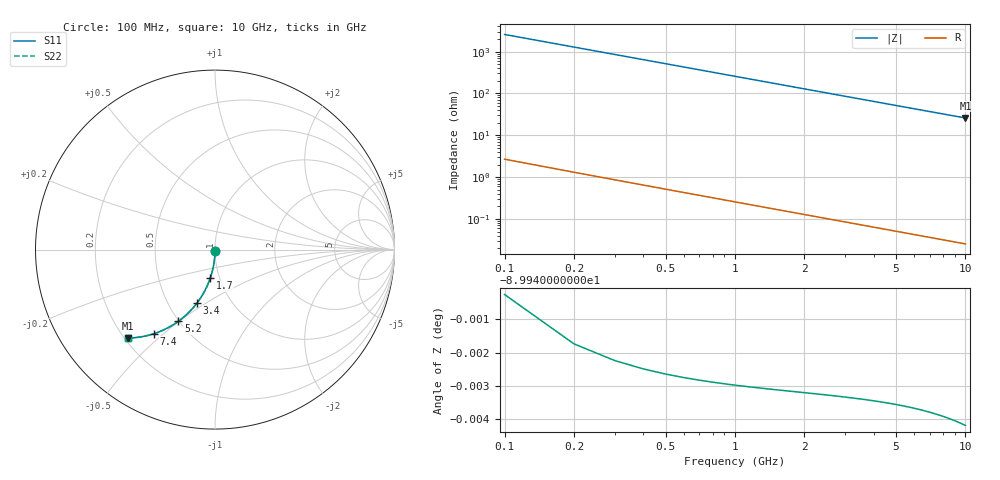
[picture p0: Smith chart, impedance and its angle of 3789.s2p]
# Hz S RI R 50.00
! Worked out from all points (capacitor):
!   100 points, 100 MHz to 10 GHz, reference 50 ohm
!   read as one part in shunt: C = 620 fF near 100 MHz
!   lowest |Z| = 25.9 ohm at 10 GHz (marker M1)
!   S11 on the Smith chart (normalised r, x): 100 MHz: 1.00, -0.02; 1.7 GHz: 0.90, -0.30; 3.4 GHz: 0.70, -0.46; 5.2 GHz: 0.50, -0.50; 7.4 GHz: 0.33, -0.46; 10 GHz: 0.21, -0.40
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1e8  -8.44e-05 -0.00967  0.9999 -0.0098  0.9999 -0.0098  -8.44e-05 -0.00967
2e8  -0.000378 -0.0193  0.9996 -0.0196  0.9996 -0.0196  -0.000378 -0.0193
3e8  -0.000861 -0.029  0.9991 -0.0294  0.9991 -0.0294  -0.000861 -0.029
4e8  -0.00153 -0.0386  0.9984 -0.0391  0.9984 -0.0391  -0.00153 -0.0386
5e8  -0.00239 -0.0482  0.9976 -0.0489  0.9976 -0.0489  -0.00239 -0.0482
6e8  -0.00344 -0.0578  0.9965 -0.0586  0.9965 -0.0586  -0.00344 -0.0578
8e8  -0.00608 -0.0769  0.9939 -0.0779  0.9939 -0.0779  -0.00608 -0.0769
1.1e9  -0.0114 -0.1051  0.9885 -0.1065  0.9885 -0.1065  -0.0114 -0.1051
1.4e9  -0.0183 -0.1329  0.9816 -0.1347  0.9816 -0.1347  -0.0183 -0.1329
1.7e9  -0.0268 -0.1599  0.9732 -0.1621  0.9732 -0.1621  -0.0268 -0.1599
1.8e9  -0.0299 -0.1688  0.97 -0.1711  0.97 -0.1711  -0.0299 -0.1688
2.1e9  -0.0402 -0.1947  0.9597 -0.1974  0.9597 -0.1974  -0.0402 -0.1947
2.5e9  -0.056 -0.228  0.9439 -0.2312  0.9439 -0.2312  -0.056 -0.228
2.9e9  -0.0739 -0.2593  0.926 -0.2631  0.926 -0.2631  -0.0739 -0.2593
3.4e9  -0.0988 -0.2957  0.9011 -0.3001  0.9011 -0.3001  -0.0988 -0.2957
4.2e9  -0.1432 -0.3471  0.8568 -0.3525  0.8568 -0.3525  -0.1432 -0.3471
5.1e9  -0.1975 -0.3943  0.8024 -0.401  0.8024 -0.401  -0.1975 -0.3943
5.2e9  -0.2037 -0.3989  0.7962 -0.4057  0.7962 -0.4057  -0.2037 -0.3989
6.7e9  -0.2978 -0.4524  0.7021 -0.4612  0.7021 -0.4612  -0.2978 -0.4524
7.4e9  -0.3408 -0.4686  0.6591 -0.4783  0.6591 -0.4783  -0.3408 -0.4686
8.4e9  -0.3996 -0.4838  0.6003 -0.4948  0.6003 -0.4948  -0.3996 -0.4838
1e10  -0.4852 -0.4927  0.5147 -0.5059  0.5147 -0.5059  -0.4852 -0.4927
